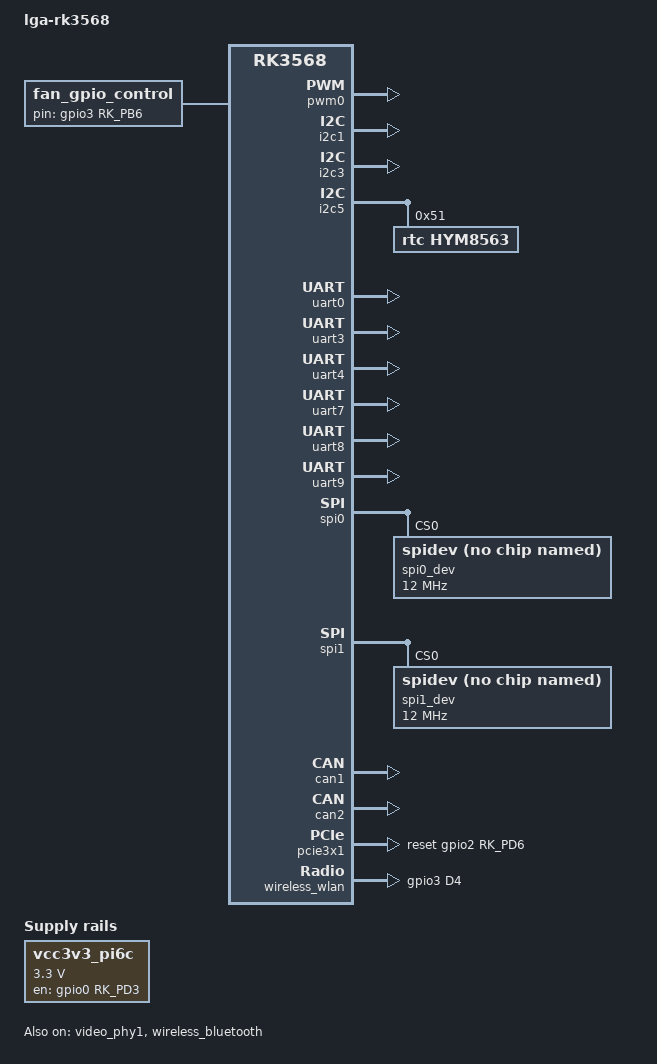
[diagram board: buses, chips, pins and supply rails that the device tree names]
// SPDX-License-Identifier: (GPL-2.0+ OR MIT)
/*
 * Copyright (c) 2020 Rockchip Electronics Co., Ltd.
 *
 */

/dts-v1/;

//rk3568-evb1-ddr4-v10
//#include "rk3568-evb1-ddr4-v10.dtsi"

#include "rk3568-evb-rpdzkj-rk809-syr837.dtsi"

#include "../rk3568-linux.dtsi"

/*************************camera***********************/
//#include "rp-mipi-camera-gc2093-rk3568.dtsi"
#include "rp-mipi-camera-gc2093-imx334-imx415-rk3568.dtsi"
/***************************************************/


/*************************adc key***********************/
#include "rp-adc-key.dtsi"
/***************************************************/

/*************************gmac***********************/
#include "rp-gmac0-pro-rk3568.dtsi"
#include "rp-gmac1-m1-pro-rk3568.dtsi"
/***************************************************/

/*************************CAN**********************/
#include "rp-can1-m1-rk3568.dtsi"
#include "rp-can2-m0-rk3568.dtsi"
/**************************************************/

/*********************PCIE**************************/
#include "rk3568-pcie3x1x1.dtsi"

/*************************SATA***********************/
#include "rk3568-sata2.dtsi"
/***************************************************/



/***************** SINGLE LCD (LCD + HDMI) ****************/
#include "lga-rk3568-single-lcd-gpio.dtsi"      // gpio config of lcd
/* HDMI */
//#include "rp-lcd-hdmi.dtsi"

/* MIPI DSI0 */
//#include "rp-lcd-mipi0-5-720-1280.dtsi"
//#include "rp-lcd-mipi0-5-720-1280-v2.dtsi"
//#include "rp-lcd-mipi0-5-720-1280-v2-boxTP.dtsi"
//#include "rp-lcd-mipi0-5.5-720-1280.dtsi"
//#include "rp-lcd-mipi0-5.5-720-1280-v2.dtsi"
//#include "rp-lcd-mipi0-5.5-1080-1920.dtsi"
#include "rp-lcd-mipi0-7-1024-600.dtsi"
//#include "rp-lcd-mipi0-7-1200-1920.dtsi"
//#include "rp-lcd-mipi0-8-800-1280.dtsi"
//#include "rp-lcd-mipi0-8-800-1280-v2.dtsi"
//#include "rp-lcd-mipi0-8-800-1280-v3.dtsi"
//#include "rp-lcd-mipi0-8-1200-1920.dtsi"
//#include "rp-lcd-mipi0-10-800-1280.dtsi"
//#include "rp-lcd-mipi0-10-800-1280-v2.dtsi"
//#include "rp-lcd-mipi0-10-800-1280-v3.dtsi"
//#include "rp-lcd-mipi0-10-1200-1920.dtsi"
//#include "rp-lcd-mipi0-10-1920-1200.dtsi"
//#include "rp-lcd-mipi0-10-1920-1200-jc.dtsi"

/* MIPI DSI1 */
//#include "rp-lcd-mipi1-7-1024-600.dtsi"
//#include "rp-lcd-mipi1-7-1200-1920.dtsi"

/* LVDS */
//#include "rp-lcd-lvds-7-1024-600-v2.dtsi"
//#include "rp-lcd-lvds-10-1024-600.dtsi"

/* EDP */
//#include "rp-lcd-edp-13-1920-1080.dtsi"
//#include "rp-lcd-edp-13.3-15.6-1920-1080.dtsi"


/{

    model = "lga-rk3568";
    compatible = "rpdzkj,lga-rk3568-v10", "rockchip,rk3568";
	
	fan_gpio_control {
            compatible = "fan_gpio_control";
            gpio-pin = <&gpio3 RK_PB6 GPIO_ACTIVE_HIGH>;
            thermal-zone = "soc-thermal";
            threshold-temp = <60000>; //60C
            running-time = <10000>; //10s
            status = "okay";
        };

	vcc3v3_pi6c: vcc3v3_pi6c { //pcie3 clk enable for m.2
                compatible = "regulator-fixed";
                regulator-name = "vcc3v3_pi6c";
                regulator-always-on;
                regulator-boot-on;
                regulator-min-microvolt = <3300000>;
                regulator-max-microvolt = <3300000>;
                enable-active-high;
		gpio = <&gpio0 RK_PD3 GPIO_ACTIVE_HIGH>;
                gpios = <&gpio0 RK_PD3 GPIO_ACTIVE_HIGH>;
                pinctrl-names = "default";
                pinctrl-0 = <&pcie_clk_control>;
        };
    
        
        rp_power{
                status = "okay";
                compatible = "rp_power";
                rp_not_deep_sleep = <1>;
                
             	pinctrl-names = "default";
            	pinctrl-0 = <&vcc5v0_host_en>;
        	pinctrl-1 = <&vcc5v0_otg_en>;

//#define GPIO_FUNCTION_OUTPUT 0
//#define GPIO_FUNCTION_INPUT 1
//#define GPIO_FUNCTION_IRQ 2
//#define GPIO_FUNCTION_FLASH 3
//#define GPIO_FUNCTION_OUTPUT_CTRL 4


                led {    //system led
                        gpio_num = <&gpio0 RK_PD6 GPIO_ACTIVE_HIGH>;
                        gpio_function = <3>;
                };
	/*	
                fan {    //fan
                        gpio_num = <&gpio3 RK_PB6 GPIO_ACTIVE_HIGH>;
                        gpio_function = <4>;
                };
	*/
        	usb_pwr {       //usb  power
                        gpio_num = <&gpio0 RK_PA6 GPIO_ACTIVE_HIGH>;
                        gpio_function = <4>;
                };
                hub_rst {    //usb hub
                        gpio_num = <&gpio2 RK_PD7 GPIO_ACTIVE_LOW>;
                        gpio_function = <4>;
                };
                otg_mode {       //OTG SWITCH
                        gpio_num = <&gpio1 RK_PA4 GPIO_ACTIVE_LOW>;
                        gpio_function = <0>;
                };
                otg_power {       //usb otg power
                        gpio_num = <&gpio0 RK_PA5 GPIO_ACTIVE_HIGH>;
                        gpio_function = <4>;
                };
                spk_en {       //spk enable
                        gpio_num = <&gpio1 RK_PB1 GPIO_ACTIVE_HIGH>;
                        gpio_function = <4>;
                };
                spk_mute {       //spk mute
                        gpio_num = <&gpio1 RK_PB2 GPIO_ACTIVE_LOW>;
                        gpio_function = <4>;
                };

		vdd_4g {       //4g power
                        gpio_num = <&gpio3 RK_PB5 GPIO_ACTIVE_HIGH>;
                        gpio_function = <4>;
                };
        };

        rp_gpio{
                status = "okay";
                compatible = "rp_gpio";

		gpio0b0 {    
                        gpio_num = <&gpio0 RK_PB0 GPIO_ACTIVE_HIGH>;
                        gpio_function = <0>;
                };

		gpio0b7 {    
                        gpio_num = <&gpio0 RK_PB7 GPIO_ACTIVE_HIGH>;
                        gpio_function = <0>;
                };
        };

        fiq-debugger {
                compatible = "rockchip,fiq-debugger";
                rockchip,serial-id = <2>;
                rockchip,wake-irq = <0>;
                /* If enable uart uses irq instead of fiq */
                rockchip,irq-mode-enable = <1>;
                rockchip,baudrate = <115200>;  /* Only 115200 and 1500000 */
                interrupts = <GIC_SPI 252 IRQ_TYPE_LEVEL_LOW>;
                pinctrl-names = "default";
                pinctrl-0 = <&uart2m0_xfer>;
                status = "okay";
        };

};


&pmu_io_domains {
        status = "okay";
        pmuio2-supply = <&vcc3v3_pmu>;
        vccio1-supply = <&vccio_acodec>;
        vccio3-supply = <&vccio_sd>;
        vccio4-supply = <&vcc_1v8>;
        vccio5-supply = <&vcc_3v3>;
        vccio6-supply = <&vcc_1v8>;
        vccio7-supply = <&vcc_3v3>;
};



&pwm0 {
        status = "okay";
        pinctrl-names = "active";
};


&i2c1 {
    status = "okay";
};


&i2c3 {
    status = "okay";
};


&i2c5 {
    status = "okay";
        rtc@51 {
                status = "okay";
                compatible = "rtc,hym8563";
                reg = <0x51>;
        };
};


&uart0 {
    status = "okay";
};

&uart3 {
    status = "okay";
    pinctrl-names = "default";
    pinctrl-0 = <&uart3m1_xfer>;
};

&uart4 {
    status = "okay";
    pinctrl-names = "default";
    pinctrl-0 = <&uart4m1_xfer>;
};

&uart7 {
    status = "okay";
    pinctrl-names = "default";
    pinctrl-0 = <&uart7m1_xfer>;
};

&uart8 {
    status = "okay";
    pinctrl-names = "default";
    pinctrl-0 = <&uart8m0_xfer &uart8m0_ctsn>;
};

&uart9 {
    status = "okay";
    pinctrl-names = "default";
    pinctrl-0 = <&uart9m1_xfer>;
};


&spi0 {
    status = "okay";

    spi0_dev@0 {
        compatible = "rockchip,spidev";
        reg = <0>;
        spi-max-frequency = <12000000>;
        spi-lsb-first;
    };
};

&spi1 {
    status = "okay";
    pinctrl-names = "default";
    pinctrl-0 = <&spi1m1_cs0 &spi1m1_pins>;

    spi1_dev@0 {
        compatible = "rockchip,spidev";
        reg = <0>;
        spi-max-frequency = <12000000>;
        spi-lsb-first;
    };
};



&can1 {
       assigned-clocks = <&cru CLK_CAN1>;
       assigned-clock-rates = <150000000>;
       pinctrl-names = "default";
       pinctrl-0 = <&can1m1_pins>;
       status = "okay";
};


&can2 {
        assigned-clocks = <&cru CLK_CAN2>;
        assigned-clock-rates = <150000000>;
        pinctrl-names = "default";
        pinctrl-0 = <&can2m0_pins>;
        status = "okay";
};

&video_phy1 {
    status = "okay";
};

/******** must be close,if not system no run ******/
&dmc {
       status = "disabled";
};

&dfi {
       status = "disabled";
};
/*********************************************/


&pwm7 {
    /****** disable for gpio used to be spi0_cs0 */
    status = "disabled";
};


/**
 * when single mipi1 or edp ports used, pwm need the pwm5,
 * and if mutiple lcd used, we just reference the backlight5.
 */ 
#if (defined(RP_MIPI1_USED) || defined(RP_EDP_USED)) && defined(RP_SINGLE_LCD)
&backlight4 {
    pwms = <&pwm5 0 25000 0>;
};
#endif

/**********************pcie***************************/
&vcc3v3_pcie3 {
	gpio = <&gpio3 RK_PA7 GPIO_ACTIVE_HIGH>;	
};
/******* pcie3x1x1 -m..2*****/
&pcie3x1 {
    status = "okay";
    reset-gpios = <&gpio2 RK_PD6 GPIO_ACTIVE_HIGH>;
};

/*************************wifi bt***********************/
&wireless_wlan {
    pinctrl-names = "default";
    pinctrl-0 = <&wifi_host_wake_irq>;
    WIFI,host_wake_irq = <&gpio3 RK_PD4 GPIO_ACTIVE_HIGH>;
};

&wireless_bluetooth {
    BT,reset_gpio    = <&gpio4 RK_PC4 GPIO_ACTIVE_HIGH>;
    BT,wake_gpio     = <&gpio0 RK_PD5 GPIO_ACTIVE_HIGH>;
    BT,wake_host_irq = <&gpio0 RK_PD4 GPIO_ACTIVE_HIGH>;
    status = "okay";
};

/******************************************************/


&rk_headset {
    pinctrl-names = "default";
    pinctrl-0 = <&hp_det>;
    headset_gpio = <&gpio1 RK_PB0 GPIO_ACTIVE_HIGH>;
};


&pinctrl {
    headphone {
        hp_det: hp-det {
            rockchip,pins = <1 RK_PB0 RK_FUNC_GPIO &pcfg_pull_down>;
        };
    };
    
    
    usb {
        vcc5v0_host_en: vcc5v0-host-en {
            rockchip,pins = <0 RK_PA6 RK_FUNC_GPIO &pcfg_pull_none>;
        };

        vcc5v0_otg_en: vcc5v0-otg-en {
            rockchip,pins = <0 RK_PA5 RK_FUNC_GPIO &pcfg_pull_none>;
        };
    };
    
    
    wireless-wlan {
        wifi_host_wake_irq: wifi-host-wake-irq {
            rockchip,pins = <3 RK_PD4 RK_FUNC_GPIO &pcfg_pull_down>;
        };
    };

    wireless-bluetooth {
        uart8_gpios: uart8-gpios {
            rockchip,pins = <2 RK_PB1 RK_FUNC_GPIO &pcfg_pull_none>;
        };

    };
   
    pcie3_control{
                pcie_clk_control: pcie-clk-control {
                        rockchip,pins =
                        <0 RK_PD3 RK_FUNC_GPIO &pcfg_pull_up>;
                };
    };
 
};

&rk809_codec {
    mic-in-differential;
};
